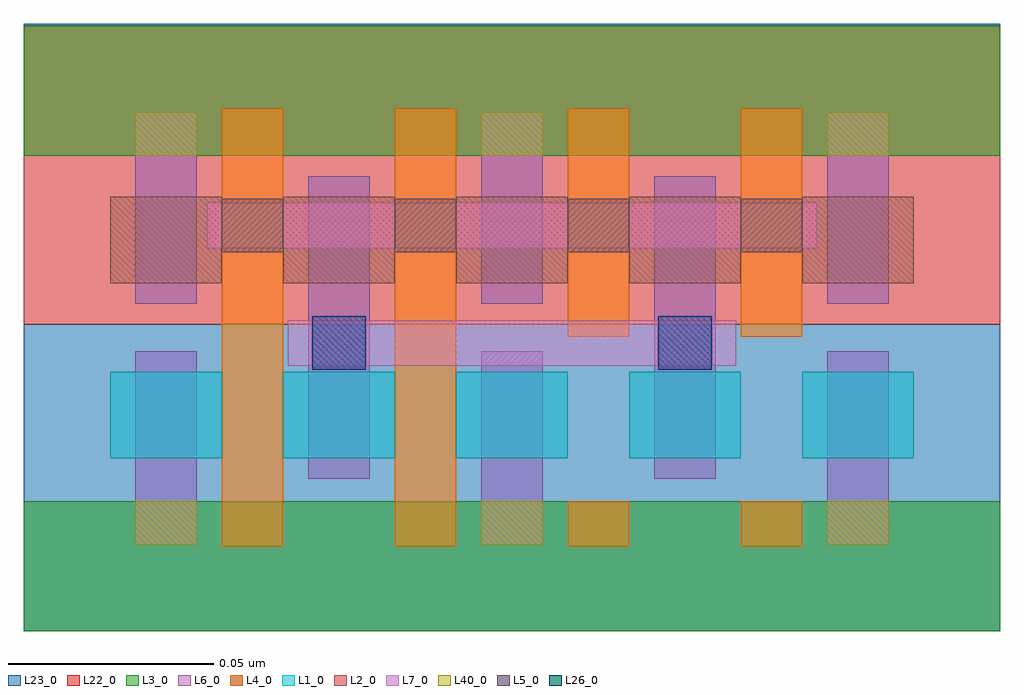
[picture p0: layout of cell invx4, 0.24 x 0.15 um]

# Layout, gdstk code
import gdstk
lib = gdstk.Library(unit=1e-6, precision=2.5e-10)
def R(c, l, rs):  # rectangles x0, y0, x1, y1
    for r in rs: c.add(gdstk.rectangle(r[:2], r[2:], *l))
def A(c, l, x, y, w, h, nx, ny, dx, dy):  # array of equal rectangles
    R(c, l, [(x+i*dx, y+j*dy, x+i*dx+w, y+j*dy+h) for i in range(nx) for j in range(ny)])
L1_0 = (1, 0)
L2_0 = (2, 0)
L3_0 = (3, 0)
L4_0 = (4, 0)
L5_0 = (5, 0)
L6_0 = (6, 0)
L7_0 = (7, 0)
L22_0 = (22, 0)
L23_0 = (23, 0)
L26_0 = (26, 0)
L40_0 = (40, 0)

invx4 = lib.new_cell('invx4')
A(invx4, L1_0, 0.027, 0.042, 0.027, 0.021, 5, 1, 0.042, 0)
A(invx4, L2_0, 0.027, 0.0845, 0.027, 0.021, 5, 1, 0.042, 0)
R(invx4, L3_0, [(0.006,0,0.243,0.0315), (0.006,0.1155,0.243,0.147)])
R(invx4, L4_0, [(0.054,0.0205,0.069,0.127), (0.096,0.0205,0.111,0.127), (0.138,0.0205,0.153,0.0315), (0.18,0.0205,0.195,0.0315), (0.138,0.0715,0.153,0.127), (0.18,0.0715,0.195,0.127)])
A(invx4, L5_0, 0.054, 0.092, 0.015, 0.013, 4, 1, 0.042, 0)
A(invx4, L6_0, 0.033, 0.021, 0.015, 0.047, 3, 1, 0.084, 0)
A(invx4, L6_0, 0.033, 0.0795, 0.015, 0.0465, 3, 1, 0.084, 0)
R(invx4, L6_0, [(0.075,0.037,0.09,0.1105), (0.159,0.037,0.174,0.1105)])
R(invx4, L7_0, [(0.07,0.0645,0.179,0.0755), (0.0505,0.093,0.1985,0.104)])
R(invx4, L22_0, [(0.006,0.0745,0.243,0.147)])
R(invx4, L23_0, [(0.006,0,0.243,0.0745), (0.006,0.147,0.243,0.1475)])
R(invx4, L26_0, [(0.076,0.0635,0.089,0.0765), (0.16,0.0635,0.173,0.0765)])
A(invx4, L40_0, 0.033, 0.021, 0.015, 0.0105, 3, 2, 0.084, 0.0945)

lib.write_gds('invx4.gds')
